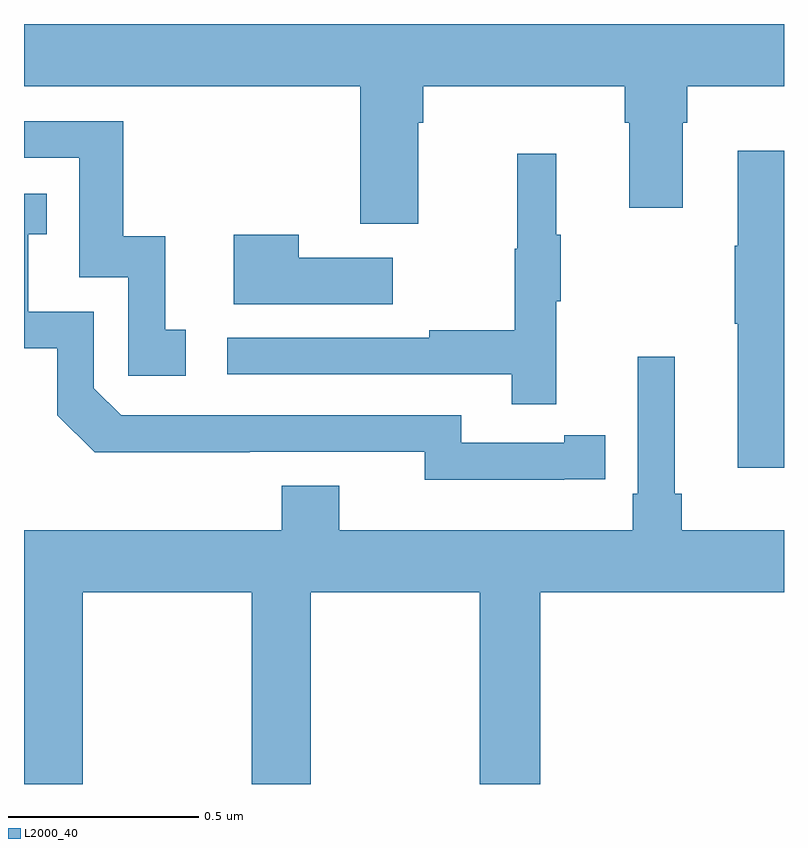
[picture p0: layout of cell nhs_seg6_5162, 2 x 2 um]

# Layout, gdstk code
import gdstk
lib = gdstk.Library(unit=1e-6, precision=1e-09)
def P(c, l, *ps):  # polygons
    for p in ps: c.add(gdstk.Polygon(p, *l))
L2000_40 = (2000, 40)

nhs_seg6_5162 = lib.new_cell('nhs_seg6_5162')
P(nhs_seg6_5162, L2000_40, [(180.037,947.24),(180.05,947.24),(180.05,947.336),(180.581,947.336),(180.581,947.24),(180.593,947.24),(180.593,947.016),(180.733,947.016),(180.733,947.24),(180.746,947.24),(180.746,947.336),(181,947.336),(181,947.5),(179,947.5),(179,947.336),(179.885,947.336),(179.885,946.974),(180.037,946.974)],
  [(179.425,946.695),(179.372,946.695),(179.372,946.942),(179.261,946.942),(179.261,947.244),(179,947.244),(179,947.148),(179.145,947.148),(179.145,946.833),(179.274,946.833),(179.274,946.575),(179.425,946.575)],
  [(181,947.167),(180.878,947.167),(180.878,946.917),(180.871,946.917),(180.871,946.711),(180.878,946.711),(180.878,946.332),(181,946.332)],
  [(180.401,946.771),(180.412,946.771),(180.412,946.945),(180.401,946.945),(180.401,947.158),(180.298,947.158),(180.298,946.908),(180.291,946.908),(180.291,946.694),(180.067,946.694),(180.067,946.674),(179.535,946.674),(179.535,946.578),(180.283,946.578),(180.283,946.5),(180.401,946.5)],
  [(180.422,946.302),(180.53,946.302),(180.53,946.418),(180.422,946.418),(180.422,946.398),(180.15,946.398),(180.15,946.47),(179.256,946.47),(179.184,946.542),(179.184,946.743),(179.011,946.743),(179.011,946.947),(179.06,946.947),(179.06,947.053),(179,947.053),(179,946.647),(179.088,946.647),(179.088,946.47),(179.186,946.373),(179.594,946.373),(179.594,946.374),(180.054,946.374),(180.054,946.301),(180.422,946.301)],
  [(179.971,946.885),(179.723,946.885),(179.723,946.945),(179.552,946.945),(179.552,946.763),(179.971,946.763)],
  [(179,945.5),(179.154,945.5),(179.154,946.004),(179.599,946.004),(179.599,945.5),(179.754,945.5),(179.754,946.004),(180.199,946.004),(180.199,945.5),(180.359,945.5),(180.359,946.004),(181,946.004),(181,946.168),(180.731,946.168),(180.731,946.264),(180.712,946.264),(180.712,946.624),(180.615,946.624),(180.615,946.264),(180.602,946.264),(180.602,946.168),(179.83,946.168),(179.83,946.285),(179.678,946.285),(179.678,946.168),(179,946.168)])

lib.write_gds('nhs_seg6_5162.gds')
